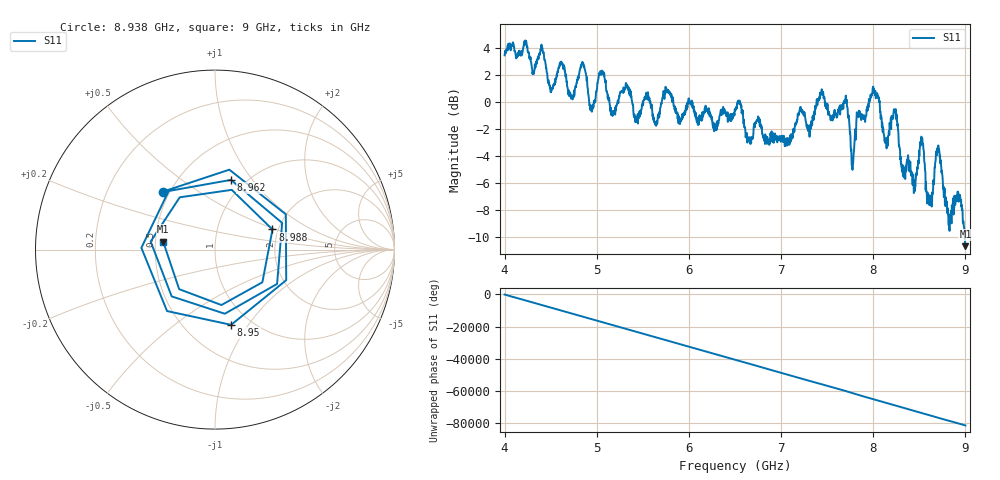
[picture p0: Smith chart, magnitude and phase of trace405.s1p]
! Created with skrf 1.8.0 (http://scikit-rf.org).
# Hz S RI R 50.0
!freq ReS11 ImS11
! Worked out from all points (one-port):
!   1601 points, 4 GHz to 9 GHz, reference 50 ohm
!   lowest |S11| = -10.7 dB at 9 GHz (marker M1), VSWR 1.83, Z = 27.5 + j2.7 ohm
!   |S11| at or under -10 dB: 8.992346 GHz to end of sweep
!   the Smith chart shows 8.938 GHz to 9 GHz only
!   S11 on the Smith chart (normalised r, x): 8.938 GHz: 0.46, +0.37; 8.95 GHz: 0.81, -0.83; 8.962 GHz: 0.86, +0.79; 8.988 GHz: 1.86, +0.47; 9 GHz: 0.55, +0.05
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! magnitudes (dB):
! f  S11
! 4 GHz  3.4
! 4.4 GHz  4.2
! 4.509 GHz  0.8
! 4.625 GHz  2.8
! 4.725 GHz  0.5
! 4.853 GHz  2.9
! 4.941 GHz  -0.5
! 5.05 GHz  2.0
! 5.172 GHz  -1.0
! 5.25 GHz  0.6
! 5.875 GHz  -0.8
! 6.5 GHz  -0.7
! 7.125 GHz  -2.7
! 7.447 GHz  0.5
! 7.697 GHz  -0.1
! 7.75 GHz  -2.3
! 8.019 GHz  0.5
! 8.375 GHz  -4.2
! 8.45 GHz  -6.6
! 8.528 GHz  -3.1
! 8.616 GHz  -7.2
! 8.706 GHz  -3.2
! 8.825 GHz  -9.2
! 8.938 GHz  -7.3
! 8.95 GHz  -7.4
! 8.962 GHz  -8.0
! 8.988 GHz  -9.4
! 9 GHz  -10.7
